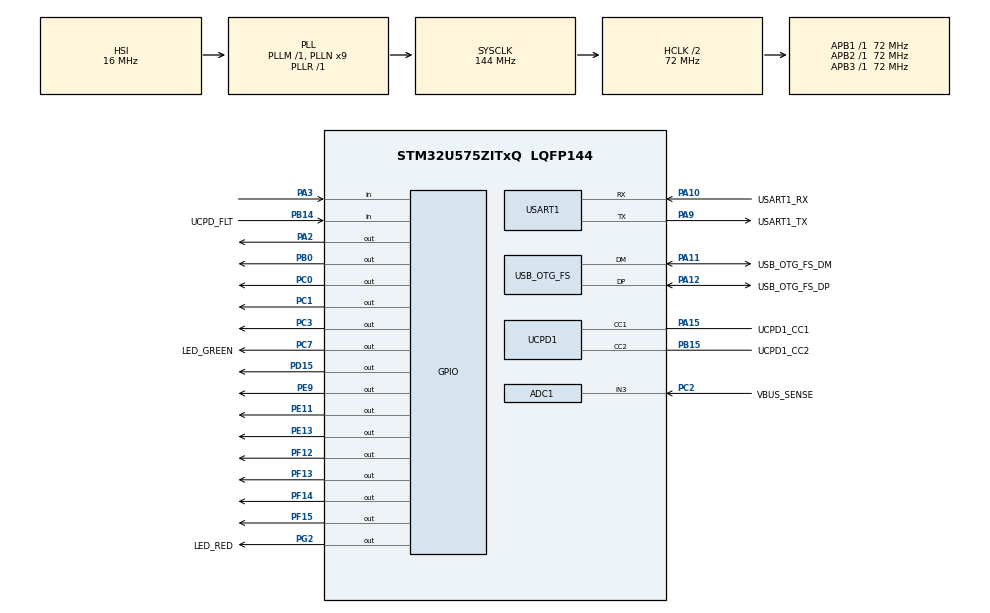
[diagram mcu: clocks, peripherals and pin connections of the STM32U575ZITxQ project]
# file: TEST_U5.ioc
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ADC1.NbrOfConversion=1
ADC1.Resolution=ADC_RESOLUTION_14B
ADC1.master=1
CORTEX_M33_NS.userName=CORTEX_M33
Mcu.Family=STM32U5
Mcu.Name=STM32U575ZITxQ
Mcu.Package=LQFP144
NVIC.OTG_FS_IRQn=true\:0\:0\:false\:false\:true\:true\:true\:true
NVIC.PriorityGroup=NVIC_PRIORITYGROUP_3
PA10.GPIO_Label=USART1_RX
PA10.GPIO_PuPd=GPIO_PULLDOWN
PA10.GPIO_Speed=GPIO_SPEED_FREQ_VERY_HIGH
PA10.Mode=Asynchronous
PA10.Signal=USART1_RX
PA11.GPIO_Label=USB_OTG_FS_DM
PA11.GPIO_Speed=GPIO_SPEED_FREQ_VERY_HIGH
PA11.Mode=Device_Only
PA11.Signal=USB_OTG_FS_DM
PA12.GPIO_Label=USB_OTG_FS_DP
PA12.GPIO_Speed=GPIO_SPEED_FREQ_VERY_HIGH
PA12.Mode=Device_Only
PA12.Signal=USB_OTG_FS_DP
PA13\ (JTMS/SWDIO).Mode=Trace_Asynchronous_SW
PA13\ (JTMS/SWDIO).Signal=DEBUG_JTMS-SWDIO
PA14\ (JTCK/SWCLK).Mode=Trace_Asynchronous_SW
PA14\ (JTCK/SWCLK).Signal=DEBUG_JTCK-SWCLK
PA15\ (JTDI).GPIO_Label=UCPD1_CC1
PA15\ (JTDI).Mode=Sink_AllSignals
PA15\ (JTDI).Signal=UCPD1_CC1
PA2.Signal=GPIO_Output
PA3.Signal=GPIO_Input
PA9.GPIO_Label=USART1_TX
PA9.GPIO_PuPd=GPIO_PULLDOWN
PA9.GPIO_Speed=GPIO_SPEED_FREQ_VERY_HIGH
PA9.Mode=Asynchronous
PA9.Signal=USART1_TX
PB0.Signal=GPIO_Output
PB14.GPIO_Label=UCPD_FLT
PB14.Signal=GPIO_Input
PB15.GPIO_Label=UCPD1_CC2
PB15.Mode=Sink_AllSignals
PB15.Signal=UCPD1_CC2
PB3\ (JTDO/TRACESWO).Mode=Trace_Asynchronous_SW
PB3\ (JTDO/TRACESWO).Signal=DEBUG_JTDO-SWO
PC0.Signal=GPIO_Output
PC1.Signal=GPIO_Output
PC14-OSC32_IN\ (PC14).Signal=RCC_OSC32_IN
PC15-OSC32_OUT\ (PC15).Signal=RCC_OSC32_OUT
PC2.GPIO_Label=VBUS_SENSE
PC2.Mode=IN3-Single-Ended
PC2.Signal=ADC1_IN3
PC3.Signal=GPIO_Output
PC7.GPIO_Label=LED_GREEN
PC7.GPIO_PuPd=GPIO_PULLUP
PC7.GPIO_Speed=GPIO_SPEED_FREQ_HIGH
PC7.Signal=GPIO_Output
PD15.Signal=GPIO_Output
PE11.Signal=GPIO_Output
PE13.Signal=GPIO_Output
PE9.Signal=GPIO_Output
PF12.Signal=GPIO_Output
PF13.Signal=GPIO_Output
PF14.Signal=GPIO_Output
PF15.Signal=GPIO_Output
PG2.GPIO_Label=LED_RED
PG2.GPIO_ModeDefaultOutputPP=GPIO_MODE_OUTPUT_PP
PG2.GPIO_PuPd=GPIO_PULLUP
PG2.GPIO_Speed=GPIO_SPEED_FREQ_HIGH
PG2.Signal=GPIO_Output
PH0-OSC_IN\ (PH0).Mode=HSE-External-Clock-Source
PH0-OSC_IN\ (PH0).Signal=RCC_OSC_IN
PWR.PowerMode=PWR_SMPS_SUPPLY
ProjectManager.HeapSize=0x200
ProjectManager.StackSize=0x400
ProjectManager.TargetToolchain=STM32CubeIDE
RCC.ADCFreq_Value=16000000
RCC.AHBCLKDivider=RCC_SYSCLK_DIV2
RCC.AHBFreq_Value=72000000
RCC.APB1Freq_Value=72000000
RCC.APB1TimFreq_Value=72000000
RCC.APB2Freq_Value=72000000
RCC.APB2TimFreq_Value=72000000
RCC.APB3Freq_Value=72000000
RCC.CortexFreq_Value=72000000
RCC.DACCLockSelectionVirtual=RCC_DAC1CLKSOURCE_LSI
RCC.DACCLockSelectionVirtualString=RCC_DAC1CLKSOURCE_LSI
RCC.EPOD_VALUE=16000000
RCC.HCLKFreq_Value=72000000
RCC.HSE_VALUE=16000000
RCC.HSI48_VALUE=48000000
RCC.HSI_VALUE=16000000
RCC.LSIDIV_VALUE=32000
RCC.MSI_VALUE=4000000
RCC.PLL1R=1
RCC.PLLFRACN=0
RCC.PLLN=9
RCC.PLLSourceVirtual=RCC_PLLSOURCE_HSI
RCC.SYSCLKFreq_VALUE=144000000
RCC.SYSCLKSource=RCC_SYSCLKSOURCE_PLLCLK
RCC.USBFreq_Value=48000000
RCC.VCOOutputFreq_Value=144000000
TIM1.PeriodNoDither=10000-1
TIM1.Prescaler=72-1
USART1.VirtualMode-Asynchronous=VM_ASYNC
USB_OTG_FS.VirtualMode=Device_Only
VP_LPBAMQUEUE_VS_QUEUE.Mode=QUEUEMODE
VP_LPBAM_VS_SIG1.Mode=SmartRun
VP_LPBAM_VS_SIG4.Mode=LPDMA1
VP_PWR_VS_DBSignals.Mode=DisableDeadBatterySignals
VP_PWR_VS_LPOM.Mode=PowerOptimisation
VP_PWR_VS_SECSignals.Mode=Security/Privilege
VP_TIM1_VS_ClockSourceINT.Mode=Internal
board=NUCLEO-U575ZI-Q

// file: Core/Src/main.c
/* USER CODE BEGIN Header */
/**
  ******************************************************************************
  * @file           : main.c
  * @brief          : Main program body
  ******************************************************************************
  * @attention
  *
  * Copyright (c) 2023 STMicroelectronics.
  * All rights reserved.
  *
  * This software is licensed under terms that can be found in the LICENSE file
  * in the root directory of this software component.
  * If no LICENSE file comes with this software, it is provided AS-IS.
  *
  ******************************************************************************
  */
/* USER CODE END Header */
#include "main.h"

/* USER CODE BEGIN Includes */

#include <stdlib.h>
#include <stdio.h>

/* USER CODE END Includes */

/* USER CODE BEGIN PTD */
#include "lcd_touch.h"
#include "stdlib.h"
#include "space_impact.h"
int8_t start_move;
MoveState* mstate;
/* USER CODE END PTD */

ADC_HandleTypeDef hadc1;

TIM_HandleTypeDef htim1;

UART_HandleTypeDef huart1;

PCD_HandleTypeDef hpcd_USB_OTG_FS;

void SystemClock_Config(void);
static void SystemPower_Config(void);
static void MX_GPIO_Init(void);
static void MX_ADC1_Init(void);
static void MX_UCPD1_Init(void);
static void MX_USART1_UART_Init(void);
static void MX_USB_OTG_FS_PCD_Init(void);
static void MX_TIM1_Init(void);

/* USER CODE BEGIN 0 */
uint16_t ID=0x9341;

/* USER CODE END 0 */

int main(void)
{

  /* MCU Configuration--------------------------------------------------------*/

  /* Reset of all peripherals, Initializes the Flash interface and the Systick. */
  HAL_Init();

  /* Configure the system clock */
  SystemClock_Config();

  /* Configure the System Power */
  SystemPower_Config();

  /* Initialize all configured peripherals */
  MX_GPIO_Init();
  MX_ADC1_Init();
  MX_UCPD1_Init();
  MX_USART1_UART_Init();
  MX_USB_OTG_FS_PCD_Init();
  MX_TIM1_Init();
  /* USER CODE BEGIN 2 */
//  HAL_GPIO_WritePin(GPIOG, GPIO_PIN_2, 1);

//  HAL_TIM_Base_Start(&htim1);

  /* USER CODE END 2 */

  /* Infinite loop */
  /* USER CODE BEGIN WHILE */
  HAL_GPIO_WritePin(GPIOC, GPIO_PIN_1, 1);
  HAL_Delay(100);
  HAL_GPIO_WritePin(GPIOC, GPIO_PIN_1, 0);
   HAL_Delay(100);
   HAL_GPIO_WritePin(GPIOC, GPIO_PIN_1, 1);
   HAL_Delay(100);

     LCD_init();
    LCD_FillScreen(CYAN);
//    LCD_DrawLine(10, 10, 120, 120, RED);
//    LCD_DrawRect(50, 50, 1000, 1500, BLACK);
//    LCD_FillRect(50, 50, 100, 100, BLACK);
//    LCD_DrawCircle(120, 120, 50, YELLOW);
    //LCD_SetTextColor(GREEN, BLACK);
    LCD_Printf("STM32U575",60,120);
//    SpaceShip rocket;
//    initSpaceShip(&rocket);
//    drawSpaceShip(&rocket);
//
//    Bullet bul[BULLETS_QUANTITY];
//    initBulletHolder(bul, &rocket);
//
//    Asteroid ast[ASTEROIDS_QUANTITY];
//    initAsteroidArmy(ast);
//
//    uint8_t i;
//
//    uint16_t next_try_timer = 0;
    /* USER CODE END 2 */

    /* Infinite loop */
    /* USER CODE BEGIN WHILE */
    while (1)
    {
    /* USER CODE END WHILE */

    /* USER CODE BEGIN 3 */
//        calculateAsteroidArmy(ast);
//    	     calculateBulletHolder(bul);
//    	     analizeSituation(&rocket, ast, bul);
//
//    			if (!HAL_GPIO_ReadPin(GPIOB, GPIO_PIN_12)) start_move = 1;
//
//    			else if (!HAL_GPIO_ReadPin(GPIOB, GPIO_PIN_13)) start_move = -1;
//
//    			else start_move = 0;
//
//    //			if ((start_move == -1)||(start_move == 1)) start_move = 0;
//
//
//
//    	     if (rocket.state == ACTIVATE)
//    	     	 moveSpaceShip(&rocket, &start_move);
//
//    	     for (i=0; i<BULLETS_QUANTITY; i++)
//    	    	 moveBullet(&bul[i]);
//
//    	     for (i=0; i<ASTEROIDS_QUANTITY; i++)
//    	    	 moveAsteroid(&ast[i]);
//
//    	     if (rocket.state == DEACTIVATE) {
//    	    	 next_try_timer++;
//    	    	 if (next_try_timer == NEXT_TRY_DELAY) {
//    	    		 rocket.state = ACTIVATE;
//    	    		 drawSpaceShip(&rocket);
//    	    		 next_try_timer = 0;
//    	    	 }
//    	     }
//
//
//    	     HAL_Delay(SPEED);
    }
  /* USER CODE END 3 */
}

void SystemClock_Config(void)
{
  RCC_OscInitTypeDef RCC_OscInitStruct = {0};
  RCC_ClkInitTypeDef RCC_ClkInitStruct = {0};

  /** Configure the main internal regulator output voltage
  */
  if (HAL_PWREx_ControlVoltageScaling(PWR_REGULATOR_VOLTAGE_SCALE1) != HAL_OK)
  {
    Error_Handler();
  }

  /** Initializes the CPU, AHB and APB buses clocks
  */
  RCC_OscInitStruct.OscillatorType = RCC_OSCILLATORTYPE_HSI48|RCC_OSCILLATORTYPE_HSI;
  RCC_OscInitStruct.HSIState = RCC_HSI_ON;
  RCC_OscInitStruct.HSI48State = RCC_HSI48_ON;
  RCC_OscInitStruct.HSICalibrationValue = RCC_HSICALIBRATION_DEFAULT;
  RCC_OscInitStruct.PLL.PLLState = RCC_PLL_ON;
  RCC_OscInitStruct.PLL.PLLSource = RCC_PLLSOURCE_HSI;
  RCC_OscInitStruct.PLL.PLLMBOOST = RCC_PLLMBOOST_DIV1;
  RCC_OscInitStruct.PLL.PLLM = 1;
  RCC_OscInitStruct.PLL.PLLN = 9;
  RCC_OscInitStruct.PLL.PLLP = 2;
  RCC_OscInitStruct.PLL.PLLQ = 2;
  RCC_OscInitStruct.PLL.PLLR = 1;
  RCC_OscInitStruct.PLL.PLLRGE = RCC_PLLVCIRANGE_1;
  RCC_OscInitStruct.PLL.PLLFRACN = 0;
  if (HAL_RCC_OscConfig(&RCC_OscInitStruct) != HAL_OK)
  {
    Error_Handler();
  }

  /** Initializes the CPU, AHB and APB buses clocks
  */
  RCC_ClkInitStruct.ClockType = RCC_CLOCKTYPE_HCLK|RCC_CLOCKTYPE_SYSCLK
                              |RCC_CLOCKTYPE_PCLK1|RCC_CLOCKTYPE_PCLK2
                              |RCC_CLOCKTYPE_PCLK3;
  RCC_ClkInitStruct.SYSCLKSource = RCC_SYSCLKSOURCE_PLLCLK;
  RCC_ClkInitStruct.AHBCLKDivider = RCC_SYSCLK_DIV2;
  RCC_ClkInitStruct.APB1CLKDivider = RCC_HCLK_DIV1;
  RCC_ClkInitStruct.APB2CLKDivider = RCC_HCLK_DIV1;
  RCC_ClkInitStruct.APB3CLKDivider = RCC_HCLK_DIV1;

  if (HAL_RCC_ClockConfig(&RCC_ClkInitStruct, FLASH_LATENCY_2) != HAL_OK)
  {
    Error_Handler();
  }
}

/**
  * @brief Power Configuration
  * @retval None
  */
static void SystemPower_Config(void)
{
  HAL_PWREx_EnableVddIO2();

  /*
   * Switch to SMPS regulator instead of LDO
   */
  if (HAL_PWREx_ConfigSupply(PWR_SMPS_SUPPLY) != HAL_OK)
  {
    Error_Handler();
  }
}

static void MX_ADC1_Init(void)
{

  /** Common config
  */
  hadc1.Instance = ADC1;
  hadc1.Init.ClockPrescaler = ADC_CLOCK_ASYNC_DIV1;
  hadc1.Init.Resolution = ADC_RESOLUTION_14B;
  hadc1.Init.GainCompensation = 0;
  hadc1.Init.ScanConvMode = ADC_SCAN_DISABLE;
  hadc1.Init.EOCSelection = ADC_EOC_SINGLE_CONV;
  hadc1.Init.LowPowerAutoWait = DISABLE;
  hadc1.Init.ContinuousConvMode = DISABLE;
  hadc1.Init.NbrOfConversion = 1;
  hadc1.Init.DiscontinuousConvMode = DISABLE;
  hadc1.Init.DMAContinuousRequests = DISABLE;
  hadc1.Init.TriggerFrequencyMode = ADC_TRIGGER_FREQ_HIGH;
  hadc1.Init.Overrun = ADC_OVR_DATA_PRESERVED;
  hadc1.Init.LeftBitShift = ADC_LEFTBITSHIFT_NONE;
  hadc1.Init.ConversionDataManagement = ADC_CONVERSIONDATA_DR;
  hadc1.Init.OversamplingMode = DISABLE;
  if (HAL_ADC_Init(&hadc1) != HAL_OK)
  {
    Error_Handler();
  }

}

static void MX_TIM1_Init(void)
{

  TIM_ClockConfigTypeDef sClockSourceConfig = {0};
  TIM_MasterConfigTypeDef sMasterConfig = {0};

  htim1.Instance = TIM1;
  htim1.Init.Prescaler = 72-1;
  htim1.Init.CounterMode = TIM_COUNTERMODE_UP;
  htim1.Init.Period = 9999;
  htim1.Init.ClockDivision = TIM_CLOCKDIVISION_DIV1;
  htim1.Init.RepetitionCounter = 0;
  htim1.Init.AutoReloadPreload = TIM_AUTORELOAD_PRELOAD_DISABLE;
  if (HAL_TIM_Base_Init(&htim1) != HAL_OK)
  {
    Error_Handler();
  }
  sClockSourceConfig.ClockSource = TIM_CLOCKSOURCE_INTERNAL;
  if (HAL_TIM_ConfigClockSource(&htim1, &sClockSourceConfig) != HAL_OK)
  {
    Error_Handler();
  }
  sMasterConfig.MasterOutputTrigger = TIM_TRGO_RESET;
  sMasterConfig.MasterOutputTrigger2 = TIM_TRGO2_RESET;
  sMasterConfig.MasterSlaveMode = TIM_MASTERSLAVEMODE_DISABLE;
  if (HAL_TIMEx_MasterConfigSynchronization(&htim1, &sMasterConfig) != HAL_OK)
  {
    Error_Handler();
  }

}

static void MX_UCPD1_Init(void)
{

  LL_GPIO_InitTypeDef GPIO_InitStruct = {0};

  /* Peripheral clock enable */
  LL_APB1_GRP2_EnableClock(LL_APB1_GRP2_PERIPH_UCPD1);

  LL_AHB2_GRP1_EnableClock(LL_AHB2_GRP1_PERIPH_GPIOB);
  LL_AHB2_GRP1_EnableClock(LL_AHB2_GRP1_PERIPH_GPIOA);
  /**UCPD1 GPIO Configuration
  PB15   ------> UCPD1_CC2
  PA15 (JTDI)   ------> UCPD1_CC1
  */
  GPIO_InitStruct.Pin = LL_GPIO_PIN_15;
  GPIO_InitStruct.Mode = LL_GPIO_MODE_ANALOG;
  GPIO_InitStruct.Pull = LL_GPIO_PULL_NO;
  LL_GPIO_Init(GPIOB, &GPIO_InitStruct);

  GPIO_InitStruct.Pin = LL_GPIO_PIN_15;
  GPIO_InitStruct.Mode = LL_GPIO_MODE_ANALOG;
  GPIO_InitStruct.Pull = LL_GPIO_PULL_NO;
  LL_GPIO_Init(GPIOA, &GPIO_InitStruct);

}

static void MX_USART1_UART_Init(void)
{

  huart1.Instance = USART1;
  huart1.Init.BaudRate = 115200;
  huart1.Init.WordLength = UART_WORDLENGTH_8B;
  huart1.Init.StopBits = UART_STOPBITS_1;
  huart1.Init.Parity = UART_PARITY_NONE;
  huart1.Init.Mode = UART_MODE_TX_RX;
  huart1.Init.HwFlowCtl = UART_HWCONTROL_NONE;
  huart1.Init.OverSampling = UART_OVERSAMPLING_16;
  huart1.Init.OneBitSampling = UART_ONE_BIT_SAMPLE_DISABLE;
  huart1.Init.ClockPrescaler = UART_PRESCALER_DIV1;
  huart1.AdvancedInit.AdvFeatureInit = UART_ADVFEATURE_NO_INIT;
  if (HAL_UART_Init(&huart1) != HAL_OK)
  {
    Error_Handler();
  }
  if (HAL_UARTEx_SetTxFifoThreshold(&huart1, UART_TXFIFO_THRESHOLD_1_8) != HAL_OK)
  {
    Error_Handler();
  }
  if (HAL_UARTEx_SetRxFifoThreshold(&huart1, UART_RXFIFO_THRESHOLD_1_8) != HAL_OK)
  {
    Error_Handler();
  }
  if (HAL_UARTEx_DisableFifoMode(&huart1) != HAL_OK)
  {
    Error_Handler();
  }

}

static void MX_USB_OTG_FS_PCD_Init(void)
{

  hpcd_USB_OTG_FS.Instance = USB_OTG_FS;
  hpcd_USB_OTG_FS.Init.dev_endpoints = 6;
  hpcd_USB_OTG_FS.Init.phy_itface = PCD_PHY_EMBEDDED;
  hpcd_USB_OTG_FS.Init.Sof_enable = DISABLE;
  hpcd_USB_OTG_FS.Init.low_power_enable = DISABLE;
  hpcd_USB_OTG_FS.Init.lpm_enable = DISABLE;
  hpcd_USB_OTG_FS.Init.battery_charging_enable = DISABLE;
  hpcd_USB_OTG_FS.Init.use_dedicated_ep1 = DISABLE;
  hpcd_USB_OTG_FS.Init.vbus_sensing_enable = DISABLE;
  if (HAL_PCD_Init(&hpcd_USB_OTG_FS) != HAL_OK)
  {
    Error_Handler();
  }

}

static void MX_GPIO_Init(void)
{
  GPIO_InitTypeDef GPIO_InitStruct = {0};

  /* GPIO Ports Clock Enable */
  __HAL_RCC_GPIOC_CLK_ENABLE();
  __HAL_RCC_GPIOH_CLK_ENABLE();
  __HAL_RCC_GPIOA_CLK_ENABLE();
  __HAL_RCC_GPIOB_CLK_ENABLE();
  __HAL_RCC_GPIOF_CLK_ENABLE();
  __HAL_RCC_GPIOE_CLK_ENABLE();
  __HAL_RCC_GPIOD_CLK_ENABLE();
  __HAL_RCC_GPIOG_CLK_ENABLE();

  /*Configure GPIO pin Output Level */
  HAL_GPIO_WritePin(GPIOC, GPIO_PIN_0|GPIO_PIN_1|GPIO_PIN_3|LED_GREEN_Pin, GPIO_PIN_RESET);

  /*Configure GPIO pin Output Level */
  HAL_GPIO_WritePin(GPIOA, GPIO_PIN_2, GPIO_PIN_RESET);

  /*Configure GPIO pin Output Level */
  HAL_GPIO_WritePin(GPIOB, GPIO_PIN_0, GPIO_PIN_RESET);

  /*Configure GPIO pin Output Level */
  HAL_GPIO_WritePin(GPIOF, GPIO_PIN_12|GPIO_PIN_13|GPIO_PIN_14|GPIO_PIN_15, GPIO_PIN_RESET);

  /*Configure GPIO pin Output Level */
  HAL_GPIO_WritePin(GPIOE, GPIO_PIN_9|GPIO_PIN_11|GPIO_PIN_13, GPIO_PIN_RESET);

  /*Configure GPIO pin Output Level */
  HAL_GPIO_WritePin(GPIOD, GPIO_PIN_15, GPIO_PIN_RESET);

  /*Configure GPIO pin Output Level */
  HAL_GPIO_WritePin(LED_RED_GPIO_Port, LED_RED_Pin, GPIO_PIN_RESET);

  /*Configure GPIO pins : PC0 PC1 PC3 */
  GPIO_InitStruct.Pin = GPIO_PIN_0|GPIO_PIN_1|GPIO_PIN_3;
  GPIO_InitStruct.Mode = GPIO_MODE_OUTPUT_PP;
  GPIO_InitStruct.Pull = GPIO_NOPULL;
  GPIO_InitStruct.Speed = GPIO_SPEED_FREQ_LOW;
  HAL_GPIO_Init(GPIOC, &GPIO_InitStruct);

  /*Configure GPIO pin : PA2 */
  GPIO_InitStruct.Pin = GPIO_PIN_2;
  GPIO_InitStruct.Mode = GPIO_MODE_OUTPUT_PP;
  GPIO_InitStruct.Pull = GPIO_NOPULL;
  GPIO_InitStruct.Speed = GPIO_SPEED_FREQ_LOW;
  HAL_GPIO_Init(GPIOA, &GPIO_InitStruct);

  /*Configure GPIO pin : PA3 */
  GPIO_InitStruct.Pin = GPIO_PIN_3;
  GPIO_InitStruct.Mode = GPIO_MODE_INPUT;
  GPIO_InitStruct.Pull = GPIO_NOPULL;
  HAL_GPIO_Init(GPIOA, &GPIO_InitStruct);

  /*Configure GPIO pin : PB0 */
  GPIO_InitStruct.Pin = GPIO_PIN_0;
  GPIO_InitStruct.Mode = GPIO_MODE_OUTPUT_PP;
  GPIO_InitStruct.Pull = GPIO_NOPULL;
  GPIO_InitStruct.Speed = GPIO_SPEED_FREQ_LOW;
  HAL_GPIO_Init(GPIOB, &GPIO_InitStruct);

  /*Configure GPIO pins : PF12 PF13 PF14 PF15 */
  GPIO_InitStruct.Pin = GPIO_PIN_12|GPIO_PIN_13|GPIO_PIN_14|GPIO_PIN_15;
  GPIO_InitStruct.Mode = GPIO_MODE_OUTPUT_PP;
  GPIO_InitStruct.Pull = GPIO_NOPULL;
  GPIO_InitStruct.Speed = GPIO_SPEED_FREQ_LOW;
  HAL_GPIO_Init(GPIOF, &GPIO_InitStruct);

  /*Configure GPIO pins : PE9 PE11 PE13 */
  GPIO_InitStruct.Pin = GPIO_PIN_9|GPIO_PIN_11|GPIO_PIN_13;
  GPIO_InitStruct.Mode = GPIO_MODE_OUTPUT_PP;
  GPIO_InitStruct.Pull = GPIO_NOPULL;
  GPIO_InitStruct.Speed = GPIO_SPEED_FREQ_LOW;
  HAL_GPIO_Init(GPIOE, &GPIO_InitStruct);

  /*Configure GPIO pin : UCPD_FLT_Pin */
  GPIO_InitStruct.Pin = UCPD_FLT_Pin;
  GPIO_InitStruct.Mode = GPIO_MODE_INPUT;
  GPIO_InitStruct.Pull = GPIO_NOPULL;
  HAL_GPIO_Init(UCPD_FLT_GPIO_Port, &GPIO_InitStruct);

  /*Configure GPIO pin : PD15 */
  GPIO_InitStruct.Pin = GPIO_PIN_15;
  GPIO_InitStruct.Mode = GPIO_MODE_OUTPUT_PP;
  GPIO_InitStruct.Pull = GPIO_NOPULL;
  GPIO_InitStruct.Speed = GPIO_SPEED_FREQ_LOW;
  HAL_GPIO_Init(GPIOD, &GPIO_InitStruct);

  /*Configure GPIO pin : LED_RED_Pin */
  GPIO_InitStruct.Pin = LED_RED_Pin;
  GPIO_InitStruct.Mode = GPIO_MODE_OUTPUT_PP;
  GPIO_InitStruct.Pull = GPIO_PULLUP;
  GPIO_InitStruct.Speed = GPIO_SPEED_FREQ_HIGH;
  HAL_GPIO_Init(LED_RED_GPIO_Port, &GPIO_InitStruct);

  /*Configure GPIO pin : LED_GREEN_Pin */
  GPIO_InitStruct.Pin = LED_GREEN_Pin;
  GPIO_InitStruct.Mode = GPIO_MODE_OUTPUT_PP;
  GPIO_InitStruct.Pull = GPIO_PULLUP;
  GPIO_InitStruct.Speed = GPIO_SPEED_FREQ_HIGH;
  HAL_GPIO_Init(LED_GREEN_GPIO_Port, &GPIO_InitStruct);

}

void Error_Handler(void)
{
  __disable_irq();
  while (1)
  {
  }
}
